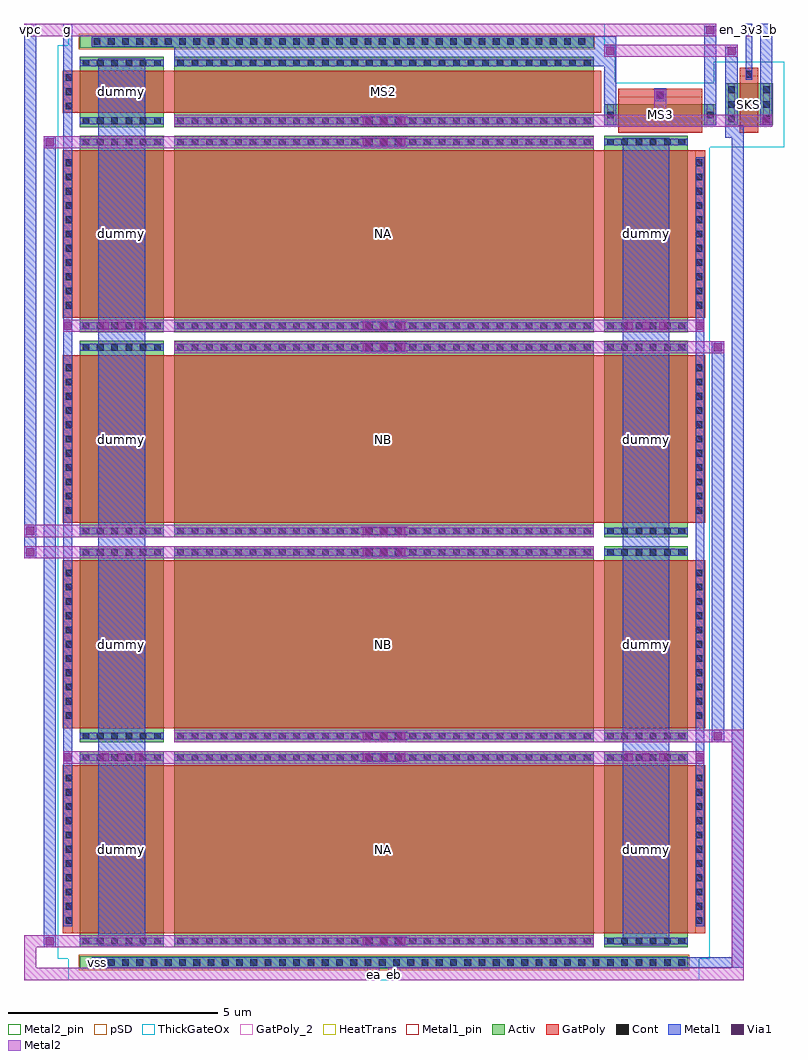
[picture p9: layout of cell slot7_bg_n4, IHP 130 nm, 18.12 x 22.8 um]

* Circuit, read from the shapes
.subckt slot7_bg_n4 ea eb en_3v3_b g ks vpc vss
XM1 g g g vss sg13_hv_nmos w=2u l=4u m=8
XM2 g g g vss sg13_hv_nmos w=2u l=1u
XM3 g g ea vss sg13_hv_nmos w=10u l=4u m=2
XM4 vpc g eb vss sg13_hv_nmos w=10u l=4u m=2
XM5 vss g ks vss sg13_hv_nmos w=10u l=1u
XM6 vpc ks vss vss sg13_hv_nmos w=0.5u l=2u
XM7 ks en_3v3_b vss vss sg13_hv_nmos w=1u l=0.45u
.ends

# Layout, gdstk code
from math import pi, radians
import gdstk
lib = gdstk.Library(unit=1e-6, precision=1e-09)
def R(c, l, rs):  # rectangles x0, y0, x1, y1
    for r in rs: c.add(gdstk.rectangle(r[:2], r[2:], *l))
def A(c, l, x, y, w, h, nx, ny, dx, dy):  # array of equal rectangles
    R(c, l, [(x+i*dx, y+j*dy, x+i*dx+w, y+j*dy+h) for i in range(nx) for j in range(ny)])
def P(c, l, *ps):  # polygons
    for p in ps: c.add(gdstk.Polygon(p, *l))
Activ = (1, 0)
GatPoly = (5, 0)
GatPoly_2 = (5, 2)
Cont = (6, 0)
Metal1 = (8, 0)
Metal1_pin = (8, 2)
Metal2 = (10, 0)
Metal2_pin = (10, 2)
pSD = (14, 0)
Via1 = (19, 0)
ThickGateOx = (44, 0)
HeatTrans = (51, 0)

slot7_nmoshv_10 = lib.new_cell('slot7_nmosHV_10')
R(slot7_nmoshv_10, Activ, [(0,0,0.3,0.3), (0,0,4.68,10), (4.38,0,4.68,0.3)])
R(slot7_nmoshv_10, GatPoly, [(0.34,-0.18,4.34,10.18)])
R(slot7_nmoshv_10, GatPoly_2, [(0.34,-0.18,4.34,10.18)])
A(slot7_nmoshv_10, Cont, 0.07, 0.07, 0.16, 0.16, 1, 4, 0, 0.345)
A(slot7_nmoshv_10, Cont, 4.45, 0.07, 0.16, 0.16, 1, 4, 0, 0.345)
A(slot7_nmoshv_10, Cont, 0.07, 1.455, 0.16, 0.16, 1, 3, 0, 0.345)
A(slot7_nmoshv_10, Cont, 4.45, 1.455, 0.16, 0.16, 1, 3, 0, 0.345)
A(slot7_nmoshv_10, Cont, 0.07, 2.495, 0.16, 0.16, 1, 4, 0, 0.345)
A(slot7_nmoshv_10, Cont, 4.45, 2.495, 0.16, 0.16, 1, 4, 0, 0.345)
A(slot7_nmoshv_10, Cont, 0.07, 3.88, 0.16, 0.16, 1, 3, 0, 0.345)
A(slot7_nmoshv_10, Cont, 4.45, 3.88, 0.16, 0.16, 1, 3, 0, 0.345)
A(slot7_nmoshv_10, Cont, 0.07, 4.92, 0.16, 0.16, 1, 4, 0, 0.345)
A(slot7_nmoshv_10, Cont, 4.45, 4.92, 0.16, 0.16, 1, 4, 0, 0.345)
A(slot7_nmoshv_10, Cont, 0.07, 6.305, 0.16, 0.16, 1, 3, 0, 0.345)
A(slot7_nmoshv_10, Cont, 4.45, 6.305, 0.16, 0.16, 1, 3, 0, 0.345)
A(slot7_nmoshv_10, Cont, 0.07, 7.345, 0.16, 0.16, 1, 4, 0, 0.345)
A(slot7_nmoshv_10, Cont, 4.45, 7.345, 0.16, 0.16, 1, 4, 0, 0.345)
A(slot7_nmoshv_10, Cont, 0.07, 8.73, 0.16, 0.16, 1, 3, 0, 0.345)
A(slot7_nmoshv_10, Cont, 4.45, 8.73, 0.16, 0.16, 1, 3, 0, 0.345)
R(slot7_nmoshv_10, Cont, [(0.07,9.77,0.23,9.93), (4.45,9.77,4.61,9.93)])
R(slot7_nmoshv_10, Metal1, [(0.07,0,0.23,10), (4.45,0,4.61,10)])
R(slot7_nmoshv_10, Metal1_pin, [(0.07,0,0.23,10), (4.45,0,4.61,10)])
R(slot7_nmoshv_10, ThickGateOx, [(-0.27,-0.52,4.95,10.52)])
R(slot7_nmoshv_10, HeatTrans, [(0.34,-0.18,4.34,10.18)])
slot7_nmoshv_10.add(gdstk.Label('nmosHV', (2.34,5), layer=63, texttype=0))
slot7_nmoshv_10.add(gdstk.Label('nmosHV', (2.34,5), layer=51, texttype=0))

slot7_nmoshv_11 = lib.new_cell('slot7_nmosHV_11')
R(slot7_nmoshv_11, Activ, [(0,0,0.3,0.3), (0,0,4.68,2), (4.38,0,4.68,0.3)])
R(slot7_nmoshv_11, GatPoly, [(0.34,-0.18,4.34,2.18)])
R(slot7_nmoshv_11, GatPoly_2, [(0.34,-0.18,4.34,2.18)])
A(slot7_nmoshv_11, Cont, 0.07, 0.07, 0.16, 0.16, 1, 6, 0, 0.34)
A(slot7_nmoshv_11, Cont, 4.45, 0.07, 0.16, 0.16, 1, 6, 0, 0.34)
R(slot7_nmoshv_11, Metal1, [(0.07,0,0.23,2), (4.45,0,4.61,2)])
R(slot7_nmoshv_11, Metal1_pin, [(0.07,0,0.23,2), (4.45,0,4.61,2)])
R(slot7_nmoshv_11, ThickGateOx, [(-0.27,-0.52,4.95,2.52)])
R(slot7_nmoshv_11, HeatTrans, [(0.34,-0.18,4.34,2.18)])
slot7_nmoshv_11.add(gdstk.Label('nmosHV', (2.34,1), layer=63, texttype=0))
slot7_nmoshv_11.add(gdstk.Label('nmosHV', (2.34,1), layer=51, texttype=0))

slot7_nmoshv_7_1 = lib.new_cell('slot7_nmosHV_7_1')
R(slot7_nmoshv_7_1, Activ, [(0,0,0.3,0.3), (0,0,1.68,10), (1.38,0,1.68,0.3)])
R(slot7_nmoshv_7_1, GatPoly, [(0.34,-0.18,1.34,10.18)])
R(slot7_nmoshv_7_1, GatPoly_2, [(0.34,-0.18,1.34,10.18)])
A(slot7_nmoshv_7_1, Cont, 0.07, 0.07, 0.16, 0.16, 1, 4, 0, 0.345)
A(slot7_nmoshv_7_1, Cont, 1.45, 0.07, 0.16, 0.16, 1, 4, 0, 0.345)
A(slot7_nmoshv_7_1, Cont, 0.07, 1.455, 0.16, 0.16, 1, 3, 0, 0.345)
A(slot7_nmoshv_7_1, Cont, 1.45, 1.455, 0.16, 0.16, 1, 3, 0, 0.345)
A(slot7_nmoshv_7_1, Cont, 0.07, 2.495, 0.16, 0.16, 1, 4, 0, 0.345)
A(slot7_nmoshv_7_1, Cont, 1.45, 2.495, 0.16, 0.16, 1, 4, 0, 0.345)
A(slot7_nmoshv_7_1, Cont, 0.07, 3.88, 0.16, 0.16, 1, 3, 0, 0.345)
A(slot7_nmoshv_7_1, Cont, 1.45, 3.88, 0.16, 0.16, 1, 3, 0, 0.345)
A(slot7_nmoshv_7_1, Cont, 0.07, 4.92, 0.16, 0.16, 1, 4, 0, 0.345)
A(slot7_nmoshv_7_1, Cont, 1.45, 4.92, 0.16, 0.16, 1, 4, 0, 0.345)
A(slot7_nmoshv_7_1, Cont, 0.07, 6.305, 0.16, 0.16, 1, 3, 0, 0.345)
A(slot7_nmoshv_7_1, Cont, 1.45, 6.305, 0.16, 0.16, 1, 3, 0, 0.345)
A(slot7_nmoshv_7_1, Cont, 0.07, 7.345, 0.16, 0.16, 1, 4, 0, 0.345)
A(slot7_nmoshv_7_1, Cont, 1.45, 7.345, 0.16, 0.16, 1, 4, 0, 0.345)
A(slot7_nmoshv_7_1, Cont, 0.07, 8.73, 0.16, 0.16, 1, 3, 0, 0.345)
A(slot7_nmoshv_7_1, Cont, 1.45, 8.73, 0.16, 0.16, 1, 3, 0, 0.345)
R(slot7_nmoshv_7_1, Cont, [(0.07,9.77,0.23,9.93), (1.45,9.77,1.61,9.93)])
R(slot7_nmoshv_7_1, Metal1, [(0.07,0,0.23,10), (1.45,0,1.61,10)])
R(slot7_nmoshv_7_1, Metal1_pin, [(0.07,0,0.23,10), (1.45,0,1.61,10)])
R(slot7_nmoshv_7_1, ThickGateOx, [(-0.27,-0.52,1.95,10.52)])
R(slot7_nmoshv_7_1, HeatTrans, [(0.34,-0.18,1.34,10.18)])
slot7_nmoshv_7_1.add(gdstk.Label('nmosHV', (0.84,5), layer=63, texttype=0))
slot7_nmoshv_7_1.add(gdstk.Label('nmosHV', (0.84,5), layer=51, texttype=0))

slot7_nmoshv_w2_l1_1 = lib.new_cell('slot7_nmosHV_w2_l1_1')
R(slot7_nmoshv_w2_l1_1, Activ, [(0,0,0.3,0.3), (0,0,1.68,2), (1.38,0,1.68,0.3)])
R(slot7_nmoshv_w2_l1_1, GatPoly, [(0.34,-0.18,1.34,2.18)])
R(slot7_nmoshv_w2_l1_1, GatPoly_2, [(0.34,-0.18,1.34,2.18)])
A(slot7_nmoshv_w2_l1_1, Cont, 0.07, 0.07, 0.16, 0.16, 1, 6, 0, 0.34)
A(slot7_nmoshv_w2_l1_1, Cont, 1.45, 0.07, 0.16, 0.16, 1, 6, 0, 0.34)
R(slot7_nmoshv_w2_l1_1, Metal1, [(0.07,0,0.23,2), (1.45,0,1.61,2)])
R(slot7_nmoshv_w2_l1_1, Metal1_pin, [(0.07,0,0.23,2), (1.45,0,1.61,2)])
R(slot7_nmoshv_w2_l1_1, ThickGateOx, [(-0.27,-0.52,1.95,2.52)])
R(slot7_nmoshv_w2_l1_1, HeatTrans, [(0.34,-0.18,1.34,2.18)])
slot7_nmoshv_w2_l1_1.add(gdstk.Label('nmosHV', (0.84,1), layer=63, texttype=0))
slot7_nmoshv_w2_l1_1.add(gdstk.Label('nmosHV', (0.84,1), layer=51, texttype=0))

slot7_nmoshv_9_1 = lib.new_cell('slot7_nmosHV_9_1')
R(slot7_nmoshv_9_1, Activ, [(0,0,0.3,0.3), (0,0,2.68,0.5), (2.38,0,2.68,0.3)])
R(slot7_nmoshv_9_1, GatPoly, [(0.34,-0.18,2.34,0.68)])
R(slot7_nmoshv_9_1, GatPoly_2, [(0.34,-0.18,2.34,0.68)])
R(slot7_nmoshv_9_1, Cont, [(0.07,0.17,0.23,0.33), (2.45,0.17,2.61,0.33)])
R(slot7_nmoshv_9_1, Metal1, [(0.07,0,0.23,0.5), (2.45,0,2.61,0.5)])
R(slot7_nmoshv_9_1, Metal1_pin, [(0.07,0,0.23,0.5), (2.45,0,2.61,0.5)])
R(slot7_nmoshv_9_1, ThickGateOx, [(-0.27,-0.52,2.95,1.02)])
R(slot7_nmoshv_9_1, HeatTrans, [(0.34,-0.18,2.34,0.68)])
slot7_nmoshv_9_1.add(gdstk.Label('nmosHV', (1.34,0.25), layer=63, texttype=0))
slot7_nmoshv_9_1.add(gdstk.Label('nmosHV', (1.34,0.25), layer=51, texttype=0))

slot7_nmoshv_5_1 = lib.new_cell('slot7_nmosHV_5_1')
R(slot7_nmoshv_5_1, Activ, [(0,0,0.3,0.3), (0,0,1.13,1), (0.83,0,1.13,0.3)])
R(slot7_nmoshv_5_1, GatPoly, [(0.34,-0.18,0.79,1.18)])
R(slot7_nmoshv_5_1, GatPoly_2, [(0.34,-0.18,0.79,1.18)])
A(slot7_nmoshv_5_1, Cont, 0.07, 0.07, 0.16, 0.16, 1, 3, 0, 0.35)
A(slot7_nmoshv_5_1, Cont, 0.9, 0.07, 0.16, 0.16, 1, 3, 0, 0.35)
R(slot7_nmoshv_5_1, Metal1, [(0.07,0,0.23,1), (0.9,0,1.06,1)])
R(slot7_nmoshv_5_1, Metal1_pin, [(0.07,0,0.23,1), (0.9,0,1.06,1)])
R(slot7_nmoshv_5_1, ThickGateOx, [(-0.27,-0.52,1.4,1.52)])
R(slot7_nmoshv_5_1, HeatTrans, [(0.34,-0.18,0.79,1.18)])
slot7_nmoshv_5_1.add(gdstk.Label('nmosHV', (0.565,0.5), layer=63, texttype=0))
slot7_nmoshv_5_1.add(gdstk.Label('nmosHV', (0.565,0.5), layer=51, texttype=0))

slot7_bg_n4 = lib.new_cell('slot7_bg_n4')
R(slot7_bg_n4, Activ, [(0,-0.51,14.5,-0.21), (0,21.45,12.25,21.75)])
A(slot7_bg_n4, GatPoly, -0.41, 0.34, 0.41, 4, 1, 4, 0, 4.89)
A(slot7_bg_n4, GatPoly, 14.5, 0.34, 0.41, 4, 1, 4, 0, 4.89)
R(slot7_bg_n4, GatPoly, [(-0.41,19.9,0,20.9), (12.84,20.1,14.84,20.47), (15.73,20.6,16.18,20.97)])
A(slot7_bg_n4, Cont, 0.33, -0.44, 0.16, 0.16, 42, 1, 0.34, 0)
A(slot7_bg_n4, Cont, -0.34, 0.56, 0.16, 0.16, 1, 11, 0, 0.34)
A(slot7_bg_n4, Cont, 14.68, 0.56, 0.16, 0.16, 1, 11, 0, 0.34)
A(slot7_bg_n4, Cont, -0.34, 5.45, 0.16, 0.16, 1, 11, 0, 0.34)
A(slot7_bg_n4, Cont, 14.68, 5.45, 0.16, 0.16, 1, 11, 0, 0.34)
A(slot7_bg_n4, Cont, -0.34, 10.34, 0.16, 0.16, 1, 11, 0, 0.34)
A(slot7_bg_n4, Cont, 14.68, 10.34, 0.16, 0.16, 1, 11, 0, 0.34)
A(slot7_bg_n4, Cont, -0.34, 15.23, 0.16, 0.16, 1, 11, 0, 0.34)
A(slot7_bg_n4, Cont, 14.68, 15.23, 0.16, 0.16, 1, 11, 0, 0.34)
A(slot7_bg_n4, Cont, -0.34, 19.98, 0.16, 0.16, 1, 3, 0, 0.34)
A(slot7_bg_n4, Cont, 0.33, 21.52, 0.16, 0.16, 35, 1, 0.34, 0)
R(slot7_bg_n4, Cont, [(13.76,20.24,13.92,20.4), (15.875,20.74,16.035,20.9)])
R(slot7_bg_n4, Metal1, [(0.28,-0.49,14.48,-0.23), (14.48,-0.49,15.83,-0.23), (15.54,-0.49,15.83,19.6), (-0.86,0.005,-0.57,19.345), (0.445,0.045,1.555,21.195), (6.695,0.045,7.805,0.255), (12.945,0.045,14.055,19.305), (-0.39,0.51,-0.18,22.02), (14.68,0.51,14.89,18.84), (6.695,4.425,7.805,4.635), (15.07,4.895,15.36,14.455), (6.695,4.935,7.805,5.145), (-1.33,9.275,-1.04,22.02), (6.695,9.315,7.805,9.525), (6.695,9.825,7.805,10.035), (6.695,14.205,7.805,14.415), (6.695,14.715,7.805,14.925), (6.695,19.095,7.805,19.305), (15.395,19.31,15.685,21.48), (12.505,19.6,12.795,21.09), (14.885,19.6,15.175,21.98), (16.225,19.6,16.515,22.02), (6.695,19.605,7.805,19.815), (13.695,20.175,13.985,20.49), (15.875,20.69,16.035,22.02), (2.25,21.01,12.795,21.73), (0.28,21.47,12.1,21.73)])
R(slot7_bg_n4, Metal1_pin, [(0.28,-0.49,0.57,-0.23), (-0.39,21.73,-0.18,22.02), (15.875,21.73,16.035,22.02), (16.225,21.73,16.515,22.02)])
R(slot7_bg_n4, Metal2, [(-1.33,-0.78,-1.04,0.295), (15.54,-0.78,15.83,5.185), (13.695,19.565,13.985,20.465)])
R(slot7_bg_n4, Metal2_pin, [(6.855,-0.78,7.145,-0.49), (7.355,-0.78,7.645,-0.49), (-1.33,21.73,-1.04,22.02)])
R(slot7_bg_n4, pSD, [(-0.03,-0.54,14.53,-0.18), (-0.03,21.42,12.28,21.78)])
A(slot7_bg_n4, Via1, 6.745, 0.055, 0.19, 0.19, 3, 2, 0.41, 4.38)
A(slot7_bg_n4, Via1, 0.495, 4.435, 0.19, 0.19, 3, 2, 0.41, 10.29)
A(slot7_bg_n4, Via1, 12.995, 4.435, 0.19, 0.19, 3, 2, 0.41, 10.29)
A(slot7_bg_n4, Via1, 6.745, 4.945, 0.19, 0.19, 3, 2, 0.41, 4.38)
A(slot7_bg_n4, Via1, 6.745, 9.835, 0.19, 0.19, 3, 2, 0.41, 4.38)
A(slot7_bg_n4, Via1, 6.745, 14.725, 0.19, 0.19, 3, 2, 0.41, 4.38)
A(slot7_bg_n4, Via1, 6.745, 19.615, 0.19, 0.19, 3, 1, 0.41, 0)
R(slot7_bg_n4, Via1, [(-0.81,0.055,-0.62,0.245), (-0.38,4.435,-0.19,4.625), (14.69,4.435,14.88,4.625), (15.12,4.945,15.31,5.135), (-1.28,9.325,-1.09,9.515), (-1.28,9.835,-1.09,10.025), (15.12,14.215,15.31,14.405), (-0.38,14.725,-0.19,14.915), (14.69,14.725,14.88,14.915), (-0.81,19.105,-0.62,19.295), (16.275,19.615,16.465,19.805), (13.745,20.225,13.935,20.415), (12.555,21.28,12.745,21.47), (15.445,21.28,15.635,21.47), (-1.28,21.78,-1.09,21.97), (14.935,21.78,15.125,21.97)])
P(slot7_bg_n4, ThickGateOx, [(-0.27,-0.78),(-0.27,-0.27),(-0.52,-0.27),(-0.52,21.51),(-0.27,21.51),(-0.27,22.02),(12.52,22.02),(12.52,21.51),(12.77,21.51),(12.77,20.62),(15.12,20.62),(15.12,21.12),(16.79,21.12),(16.79,19.08),(15.02,19.08),(15.02,-0.27),(14.77,-0.27),(14.77,-0.78)])
slot7_bg_n4.add(gdstk.FlexPath([(-1.185,0.15),(12.105,0.15)], 0.29, ends="extended", simple_path=True, layer=10, datatype=0))  # Metal2
slot7_bg_n4.add(gdstk.FlexPath([(-0.245,4.53),(14.745,4.53)], 0.29, ends="extended", simple_path=True, layer=10, datatype=0))  # Metal2
slot7_bg_n4.add(gdstk.FlexPath([(2.395,5.04),(15.685,5.04)], 0.29, ends="extended", simple_path=True, layer=10, datatype=0))  # Metal2
slot7_bg_n4.add(gdstk.FlexPath([(-1.185,9.42),(12.105,9.42)], 0.29, ends="extended", simple_path=True, layer=10, datatype=0))  # Metal2
slot7_bg_n4.add(gdstk.FlexPath([(-1.185,9.93),(12.105,9.93)], 0.29, ends="extended", simple_path=True, layer=10, datatype=0))  # Metal2
slot7_bg_n4.add(gdstk.FlexPath([(2.395,14.31),(15.215,14.31)], 0.29, ends="extended", simple_path=True, layer=10, datatype=0))  # Metal2
slot7_bg_n4.add(gdstk.FlexPath([(-0.245,14.82),(14.745,14.82)], 0.29, ends="extended", simple_path=True, layer=10, datatype=0))  # Metal2
slot7_bg_n4.add(gdstk.FlexPath([(-0.715,19.2),(12.105,19.2)], 0.29, ends="extended", simple_path=True, layer=10, datatype=0))  # Metal2
slot7_bg_n4.add(gdstk.FlexPath([(2.395,19.71),(16.37,19.71)], 0.29, ends="extended", simple_path=True, layer=10, datatype=0))  # Metal2
slot7_bg_n4.add(gdstk.FlexPath([(12.65,21.375),(15.54,21.375)], 0.29, ends="extended", simple_path=True, layer=10, datatype=0))  # Metal2
slot7_bg_n4.add(gdstk.FlexPath([(-1.185,21.875),(15.03,21.875)], 0.29, ends="extended", simple_path=True, layer=10, datatype=0))  # Metal2
slot7_bg_n4.add(gdstk.FlexPath([(-1.185,-0.635),(7,-0.635)], 0.29, ends="extended", simple_path=True, layer=10, datatype=0))  # Metal2
slot7_bg_n4.add(gdstk.FlexPath([(7.5,-0.635),(15.685,-0.635)], 0.29, ends="extended", simple_path=True, layer=10, datatype=0))  # Metal2
slot7_bg_n4.add(gdstk.Reference(slot7_nmoshv_10, (2.25,4.68), rotation=3*pi/2))
slot7_bg_n4.add(gdstk.Reference(slot7_nmoshv_10, (2.25,9.57), rotation=3*pi/2))
slot7_bg_n4.add(gdstk.Reference(slot7_nmoshv_10, (2.25,14.46), rotation=3*pi/2))
slot7_bg_n4.add(gdstk.Reference(slot7_nmoshv_10, (2.25,19.35), rotation=3*pi/2))
slot7_bg_n4.add(gdstk.Reference(slot7_nmoshv_11, (0,4.68), rotation=3*pi/2))
slot7_bg_n4.add(gdstk.Reference(slot7_nmoshv_11, (12.5,4.68), rotation=3*pi/2))
slot7_bg_n4.add(gdstk.Reference(slot7_nmoshv_11, (0,9.57), rotation=3*pi/2))
slot7_bg_n4.add(gdstk.Reference(slot7_nmoshv_11, (12.5,9.57), rotation=3*pi/2))
slot7_bg_n4.add(gdstk.Reference(slot7_nmoshv_11, (0,14.46), rotation=3*pi/2))
slot7_bg_n4.add(gdstk.Reference(slot7_nmoshv_11, (12.5,14.46), rotation=3*pi/2))
slot7_bg_n4.add(gdstk.Reference(slot7_nmoshv_11, (0,19.35), rotation=3*pi/2))
slot7_bg_n4.add(gdstk.Reference(slot7_nmoshv_11, (12.5,19.35), rotation=3*pi/2))
slot7_bg_n4.add(gdstk.Reference(slot7_nmoshv_7_1, (2.25,21.24), rotation=3*pi/2))
slot7_bg_n4.add(gdstk.Reference(slot7_nmoshv_w2_l1_1, (0,21.24), rotation=3*pi/2))
slot7_bg_n4.add(gdstk.Reference(slot7_nmoshv_9_1, (12.5,19.6)))
slot7_bg_n4.add(gdstk.Reference(slot7_nmoshv_5_1, (15.39,19.6)))
slot7_bg_n4.add(gdstk.Label('en_3v3_b', (15.955,21.875), layer=8, texttype=25))
slot7_bg_n4.add(gdstk.Label('ks', (16.37,21.875), layer=8, texttype=25))
slot7_bg_n4.add(gdstk.Label('g', (-0.285,21.875), layer=8, texttype=25))
slot7_bg_n4.add(gdstk.Label('vss', (0.425,-0.36), layer=8, texttype=25))
slot7_bg_n4.add(gdstk.Label('vpc', (-1.185,21.875), layer=10, texttype=25))
slot7_bg_n4.add(gdstk.Label('ea', (7,-0.635), layer=10, texttype=25))
slot7_bg_n4.add(gdstk.Label('eb', (7.5,-0.635), layer=10, texttype=25))
slot7_bg_n4.add(gdstk.Label('dummy', (1,2.34), layer=63, texttype=0))
slot7_bg_n4.add(gdstk.Label('NA', (7.25,2.34), layer=63, texttype=0))
slot7_bg_n4.add(gdstk.Label('dummy', (13.5,2.34), layer=63, texttype=0))
slot7_bg_n4.add(gdstk.Label('dummy', (1,7.23), layer=63, texttype=0))
slot7_bg_n4.add(gdstk.Label('NB', (7.25,7.23), layer=63, texttype=0))
slot7_bg_n4.add(gdstk.Label('dummy', (13.5,7.23), layer=63, texttype=0))
slot7_bg_n4.add(gdstk.Label('dummy', (1,12.12), layer=63, texttype=0))
slot7_bg_n4.add(gdstk.Label('NB', (7.25,12.12), layer=63, texttype=0))
slot7_bg_n4.add(gdstk.Label('dummy', (13.5,12.12), layer=63, texttype=0))
slot7_bg_n4.add(gdstk.Label('dummy', (1,17.01), layer=63, texttype=0))
slot7_bg_n4.add(gdstk.Label('NA', (7.25,17.01), layer=63, texttype=0))
slot7_bg_n4.add(gdstk.Label('dummy', (13.5,17.01), layer=63, texttype=0))
slot7_bg_n4.add(gdstk.Label('dummy', (1,20.4), layer=63, texttype=0))
slot7_bg_n4.add(gdstk.Label('MS2', (7.25,20.4), layer=63, texttype=0))
slot7_bg_n4.add(gdstk.Label('MS3', (13.84,19.85), layer=63, texttype=0))
slot7_bg_n4.add(gdstk.Label('SKS', (15.955,20.1), layer=63, texttype=0))

lib.write_gds('slot7_bg_n4.gds')
